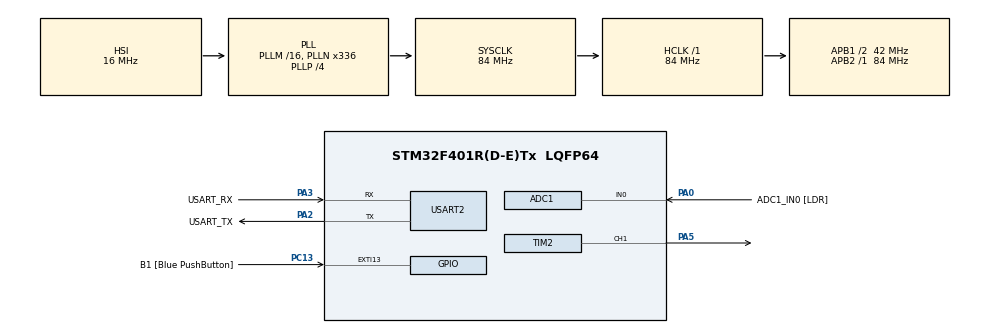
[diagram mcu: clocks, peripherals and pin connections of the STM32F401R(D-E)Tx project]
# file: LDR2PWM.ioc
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ADC1.Channel-0\#ChannelRegularConversion=ADC_CHANNEL_0
ADC1.DMAContinuousRequests=ENABLE
ADC1.ExternalTrigConv=ADC_EXTERNALTRIGCONV_T2_TRGO
ADC1.NbrOfConversionFlag=1
ADC1.Rank-0\#ChannelRegularConversion=1
ADC1.SamplingTime-0\#ChannelRegularConversion=ADC_SAMPLETIME_480CYCLES
ADC1.master=1
Dma.ADC1.0.Direction=DMA_PERIPH_TO_MEMORY
Dma.ADC1.0.FIFOMode=DMA_FIFOMODE_DISABLE
Dma.ADC1.0.Instance=DMA2_Stream0
Dma.ADC1.0.MemDataAlignment=DMA_MDATAALIGN_HALFWORD
Dma.ADC1.0.MemInc=DMA_MINC_ENABLE
Dma.ADC1.0.Mode=DMA_CIRCULAR
Dma.ADC1.0.PeriphDataAlignment=DMA_PDATAALIGN_HALFWORD
Dma.ADC1.0.PeriphInc=DMA_PINC_DISABLE
Dma.ADC1.0.Priority=DMA_PRIORITY_LOW
Dma.Request0=ADC1
Dma.Request1=USART2_TX
Dma.USART2_TX.1.Direction=DMA_MEMORY_TO_PERIPH
Dma.USART2_TX.1.FIFOMode=DMA_FIFOMODE_DISABLE
Dma.USART2_TX.1.Instance=DMA1_Stream6
Dma.USART2_TX.1.MemDataAlignment=DMA_MDATAALIGN_BYTE
Dma.USART2_TX.1.MemInc=DMA_MINC_ENABLE
Dma.USART2_TX.1.Mode=DMA_NORMAL
Dma.USART2_TX.1.PeriphDataAlignment=DMA_PDATAALIGN_BYTE
Dma.USART2_TX.1.PeriphInc=DMA_PINC_DISABLE
Dma.USART2_TX.1.Priority=DMA_PRIORITY_LOW
Mcu.Family=STM32F4
Mcu.Name=STM32F401R(D-E)Tx
Mcu.Package=LQFP64
NVIC.DMA1_Stream6_IRQn=true\:0\:0\:false\:false\:true\:false\:true\:true
NVIC.DMA2_Stream0_IRQn=true\:0\:0\:false\:false\:true\:false\:true\:true
NVIC.PriorityGroup=NVIC_PRIORITYGROUP_4
NVIC.USART2_IRQn=true\:0\:0\:false\:false\:true\:true\:true\:true
PA0-WKUP.GPIO_Label=ADC1_IN0 [LDR]
PA0-WKUP.Signal=ADCx_IN0
PA13.GPIO_Label=TMS
PA13.Mode=Trace_Asynchronous_SW
PA13.Signal=SYS_JTMS-SWDIO
PA14.GPIO_Label=TCK
PA14.Mode=Trace_Asynchronous_SW
PA14.Signal=SYS_JTCK-SWCLK
PA2.GPIO_Label=USART_TX
PA2.GPIO_Mode=GPIO_MODE_AF_PP
PA2.GPIO_PuPd=GPIO_NOPULL
PA2.GPIO_Speed=GPIO_SPEED_FREQ_LOW
PA2.Mode=Asynchronous
PA2.Signal=USART2_TX
PA3.GPIO_Label=USART_RX
PA3.GPIO_Mode=GPIO_MODE_AF_PP
PA3.GPIO_PuPd=GPIO_NOPULL
PA3.GPIO_Speed=GPIO_SPEED_FREQ_LOW
PA3.Mode=Asynchronous
PA3.Signal=USART2_RX
PA5.Signal=S_TIM2_CH1_ETR
PB3.GPIO_Label=SWO
PB3.Mode=Trace_Asynchronous_SW
PB3.Signal=SYS_JTDO-SWO
PC13-ANTI_TAMP.GPIO_Label=B1 [Blue PushButton]
PC13-ANTI_TAMP.GPIO_ModeDefaultEXTI=GPIO_MODE_IT_FALLING
PC13-ANTI_TAMP.GPIO_PuPd=GPIO_NOPULL
PC13-ANTI_TAMP.Signal=GPXTI13
PC14-OSC32_IN.Mode=LSE-External-Oscillator
PC14-OSC32_IN.Signal=RCC_OSC32_IN
PC15-OSC32_OUT.Mode=LSE-External-Oscillator
PC15-OSC32_OUT.Signal=RCC_OSC32_OUT
PH0\ -\ OSC_IN.Mode=HSE-External-Clock-Source
PH0\ -\ OSC_IN.Signal=RCC_OSC_IN
PH1\ -\ OSC_OUT.Mode=HSE-External-Clock-Source
PH1\ -\ OSC_OUT.Signal=RCC_OSC_OUT
ProjectManager.HeapSize=0x200
ProjectManager.StackSize=0x400
ProjectManager.TargetToolchain=STM32CubeIDE
RCC.48MHZClocksFreq_Value=48000000
RCC.AHBFreq_Value=84000000
RCC.APB1CLKDivider=RCC_HCLK_DIV2
RCC.APB1Freq_Value=42000000
RCC.APB1TimFreq_Value=84000000
RCC.APB2Freq_Value=84000000
RCC.APB2TimFreq_Value=84000000
RCC.CortexFreq_Value=84000000
RCC.HCLKFreq_Value=84000000
RCC.HSE_VALUE=8000000
RCC.HSI_VALUE=16000000
RCC.PLLN=336
RCC.PLLP=RCC_PLLP_DIV4
RCC.PLLQ=7
RCC.SYSCLKFreq_VALUE=84000000
RCC.SYSCLKSource=RCC_SYSCLKSOURCE_PLLCLK
RCC.VCOOutputFreq_Value=336000000
SH.ADCx_IN0.0=ADC1_IN0,IN0
SH.S_TIM2_CH1_ETR.0=TIM2_CH1,PWM Generation1 CH1
TIM2.Channel-PWM\ Generation1\ CH1=TIM_CHANNEL_1
TIM2.Period=99
TIM2.Prescaler=839
TIM2.TIM_MasterOutputTrigger=TIM_TRGO_UPDATE
USART2.VirtualMode=VM_ASYNC
VP_TIM2_VS_ClockSourceINT.Mode=Internal
board=NUCLEO-F401RE

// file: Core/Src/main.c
/* USER CODE BEGIN Header */
/**
  ******************************************************************************
  * @file           : main.c
  * @brief          : Main program body
  ******************************************************************************
  * @attention
  *
  * Copyright (c) 2025 STMicroelectronics.
  * All rights reserved.
  *
  * This software is licensed under terms that can be found in the LICENSE file
  * in the root directory of this software component.
  * If no LICENSE file comes with this software, it is provided AS-IS.
  *
  ******************************************************************************
  */
/* USER CODE END Header */
#include "main.h"

/* USER CODE BEGIN Includes */
#include "stdio.h"
#include "math.h"
/* USER CODE END Includes */

ADC_HandleTypeDef hadc1;
DMA_HandleTypeDef hdma_adc1;

TIM_HandleTypeDef htim2;

UART_HandleTypeDef huart2;
DMA_HandleTypeDef hdma_usart2_tx;

/* USER CODE BEGIN PV */
uint16_t adc_dma_buffer[1000];
float first_half_resistance_avg;
char string[32];
/* USER CODE END PV */

void SystemClock_Config(void);
static void MX_GPIO_Init(void);
static void MX_DMA_Init(void);
static void MX_USART2_UART_Init(void);
static void MX_ADC1_Init(void);
static void MX_TIM2_Init(void);

/* USER CODE BEGIN 0 */
void HAL_ADC_ConvHalfCpltCallback(ADC_HandleTypeDef* hadc) {
    uint32_t sum = 0;
    for (int i = 0; i < 500; i++) {
        sum += adc_dma_buffer[i];
    }
    float average_adc = sum / 500;
    float voltage = average_adc * 3.3 / 4095;
    first_half_resistance_avg = (voltage * 100000) / (3.3 - voltage);
}

void HAL_ADC_ConvCpltCallback(ADC_HandleTypeDef* hadc) {
    uint32_t sum = 0;
    for (int i = 500; i < 1000; i++) {
        sum += adc_dma_buffer[i];
    }
    float average_adc = sum / 500;
    float voltage = average_adc * 3.3 / 4095;
    float second_half_resistance_avg = (voltage * 100000) / (3.3 - voltage);

    float resistance_avg = (first_half_resistance_avg + second_half_resistance_avg) / 2;
    float lux = pow(10 * (100000 / resistance_avg), 1.25);

    int length = snprintf(string, sizeof(string), "LUX: %.2f\n\n", lux);
    uint32_t brightness = (uint32_t)((average_adc * 99.0f) / 4095.0f);

        // اعمال شدت نور روی کانال 1 تایمر 2 (متصل به LED)
        __HAL_TIM_SET_COMPARE(&htim2, TIM_CHANNEL_1, brightness);

        // چاپ مقادیر در ترمینال UART
//        int length = snprintf(string, sizeof(string), "LUX: %.2f | PWM Duty Cycle: %lu%%\r\n", lux, brightness);
//        HAL_UART_Transmit_DMA(&huart2, (uint8_t *)string, length);
        }
/* USER CODE END 0 */

int main(void)
{

  /* MCU Configuration--------------------------------------------------------*/

  /* Reset of all peripherals, Initializes the Flash interface and the Systick. */
  HAL_Init();

  /* Configure the system clock */
  SystemClock_Config();

  /* Initialize all configured peripherals */
  MX_GPIO_Init();
  MX_DMA_Init();
  MX_USART2_UART_Init();
  MX_ADC1_Init();
  MX_TIM2_Init();
  /* USER CODE BEGIN 2 */
  HAL_ADC_Start_DMA(&hadc1, adc_dma_buffer, 1000);
  HAL_TIM_Base_Start(&htim2);
  HAL_TIM_PWM_Start(&htim2, TIM_CHANNEL_1);

  /* USER CODE END 2 */

  /* Infinite loop */
  while (1)
  {

  }
}

void SystemClock_Config(void)
{
  RCC_OscInitTypeDef RCC_OscInitStruct = {0};
  RCC_ClkInitTypeDef RCC_ClkInitStruct = {0};

  /** Configure the main internal regulator output voltage
  */
  __HAL_RCC_PWR_CLK_ENABLE();
  __HAL_PWR_VOLTAGESCALING_CONFIG(PWR_REGULATOR_VOLTAGE_SCALE2);

  /** Initializes the RCC Oscillators according to the specified parameters
  * in the RCC_OscInitTypeDef structure.
  */
  RCC_OscInitStruct.OscillatorType = RCC_OSCILLATORTYPE_HSI;
  RCC_OscInitStruct.HSIState = RCC_HSI_ON;
  RCC_OscInitStruct.HSICalibrationValue = RCC_HSICALIBRATION_DEFAULT;
  RCC_OscInitStruct.PLL.PLLState = RCC_PLL_ON;
  RCC_OscInitStruct.PLL.PLLSource = RCC_PLLSOURCE_HSI;
  RCC_OscInitStruct.PLL.PLLM = 16;
  RCC_OscInitStruct.PLL.PLLN = 336;
  RCC_OscInitStruct.PLL.PLLP = RCC_PLLP_DIV4;
  RCC_OscInitStruct.PLL.PLLQ = 7;
  if (HAL_RCC_OscConfig(&RCC_OscInitStruct) != HAL_OK)
  {
    Error_Handler();
  }

  /** Initializes the CPU, AHB and APB buses clocks
  */
  RCC_ClkInitStruct.ClockType = RCC_CLOCKTYPE_HCLK|RCC_CLOCKTYPE_SYSCLK
                              |RCC_CLOCKTYPE_PCLK1|RCC_CLOCKTYPE_PCLK2;
  RCC_ClkInitStruct.SYSCLKSource = RCC_SYSCLKSOURCE_PLLCLK;
  RCC_ClkInitStruct.AHBCLKDivider = RCC_SYSCLK_DIV1;
  RCC_ClkInitStruct.APB1CLKDivider = RCC_HCLK_DIV2;
  RCC_ClkInitStruct.APB2CLKDivider = RCC_HCLK_DIV1;

  if (HAL_RCC_ClockConfig(&RCC_ClkInitStruct, FLASH_LATENCY_2) != HAL_OK)
  {
    Error_Handler();
  }
}

static void MX_ADC1_Init(void)
{

  ADC_ChannelConfTypeDef sConfig = {0};

  /** Configure the global features of the ADC (Clock, Resolution, Data Alignment and number of conversion)
  */
  hadc1.Instance = ADC1;
  hadc1.Init.ClockPrescaler = ADC_CLOCK_SYNC_PCLK_DIV4;
  hadc1.Init.Resolution = ADC_RESOLUTION_12B;
  hadc1.Init.ScanConvMode = DISABLE;
  hadc1.Init.ContinuousConvMode = DISABLE;
  hadc1.Init.DiscontinuousConvMode = DISABLE;
  hadc1.Init.ExternalTrigConvEdge = ADC_EXTERNALTRIGCONVEDGE_RISING;
  hadc1.Init.ExternalTrigConv = ADC_EXTERNALTRIGCONV_T2_TRGO;
  hadc1.Init.DataAlign = ADC_DATAALIGN_RIGHT;
  hadc1.Init.NbrOfConversion = 1;
  hadc1.Init.DMAContinuousRequests = ENABLE;
  hadc1.Init.EOCSelection = ADC_EOC_SINGLE_CONV;
  if (HAL_ADC_Init(&hadc1) != HAL_OK)
  {
    Error_Handler();
  }

  /** Configure for the selected ADC regular channel its corresponding rank in the sequencer and its sample time.
  */
  sConfig.Channel = ADC_CHANNEL_0;
  sConfig.Rank = 1;
  sConfig.SamplingTime = ADC_SAMPLETIME_480CYCLES;
  if (HAL_ADC_ConfigChannel(&hadc1, &sConfig) != HAL_OK)
  {
    Error_Handler();
  }

}

static void MX_TIM2_Init(void)
{

  TIM_ClockConfigTypeDef sClockSourceConfig = {0};
  TIM_MasterConfigTypeDef sMasterConfig = {0};
  TIM_OC_InitTypeDef sConfigOC = {0};

  htim2.Instance = TIM2;
  htim2.Init.Prescaler = 839;
  htim2.Init.CounterMode = TIM_COUNTERMODE_UP;
  htim2.Init.Period = 99;
  htim2.Init.ClockDivision = TIM_CLOCKDIVISION_DIV1;
  htim2.Init.AutoReloadPreload = TIM_AUTORELOAD_PRELOAD_DISABLE;
  if (HAL_TIM_Base_Init(&htim2) != HAL_OK)
  {
    Error_Handler();
  }
  sClockSourceConfig.ClockSource = TIM_CLOCKSOURCE_INTERNAL;
  if (HAL_TIM_ConfigClockSource(&htim2, &sClockSourceConfig) != HAL_OK)
  {
    Error_Handler();
  }
  if (HAL_TIM_PWM_Init(&htim2) != HAL_OK)
  {
    Error_Handler();
  }
  sMasterConfig.MasterOutputTrigger = TIM_TRGO_UPDATE;
  sMasterConfig.MasterSlaveMode = TIM_MASTERSLAVEMODE_DISABLE;
  if (HAL_TIMEx_MasterConfigSynchronization(&htim2, &sMasterConfig) != HAL_OK)
  {
    Error_Handler();
  }
  sConfigOC.OCMode = TIM_OCMODE_PWM1;
  sConfigOC.Pulse = 0;
  sConfigOC.OCPolarity = TIM_OCPOLARITY_HIGH;
  sConfigOC.OCFastMode = TIM_OCFAST_DISABLE;
  if (HAL_TIM_PWM_ConfigChannel(&htim2, &sConfigOC, TIM_CHANNEL_1) != HAL_OK)
  {
    Error_Handler();
  }
  HAL_TIM_MspPostInit(&htim2);

}

static void MX_USART2_UART_Init(void)
{

  huart2.Instance = USART2;
  huart2.Init.BaudRate = 115200;
  huart2.Init.WordLength = UART_WORDLENGTH_8B;
  huart2.Init.StopBits = UART_STOPBITS_1;
  huart2.Init.Parity = UART_PARITY_NONE;
  huart2.Init.Mode = UART_MODE_TX_RX;
  huart2.Init.HwFlowCtl = UART_HWCONTROL_NONE;
  huart2.Init.OverSampling = UART_OVERSAMPLING_16;
  if (HAL_UART_Init(&huart2) != HAL_OK)
  {
    Error_Handler();
  }

}

static void MX_DMA_Init(void)
{

  /* DMA controller clock enable */
  __HAL_RCC_DMA2_CLK_ENABLE();
  __HAL_RCC_DMA1_CLK_ENABLE();

  /* DMA interrupt init */
  /* DMA1_Stream6_IRQn interrupt configuration */
  HAL_NVIC_SetPriority(DMA1_Stream6_IRQn, 0, 0);
  HAL_NVIC_EnableIRQ(DMA1_Stream6_IRQn);
  /* DMA2_Stream0_IRQn interrupt configuration */
  HAL_NVIC_SetPriority(DMA2_Stream0_IRQn, 0, 0);
  HAL_NVIC_EnableIRQ(DMA2_Stream0_IRQn);

}

static void MX_GPIO_Init(void)
{
  GPIO_InitTypeDef GPIO_InitStruct = {0};

  /* GPIO Ports Clock Enable */
  __HAL_RCC_GPIOC_CLK_ENABLE();
  __HAL_RCC_GPIOH_CLK_ENABLE();
  __HAL_RCC_GPIOA_CLK_ENABLE();
  __HAL_RCC_GPIOB_CLK_ENABLE();

  /*Configure GPIO pin : B1_Pin */
  GPIO_InitStruct.Pin = B1_Pin;
  GPIO_InitStruct.Mode = GPIO_MODE_IT_FALLING;
  GPIO_InitStruct.Pull = GPIO_NOPULL;
  HAL_GPIO_Init(B1_GPIO_Port, &GPIO_InitStruct);

}

void Error_Handler(void)
{
  __disable_irq();
  while (1)
  {
  }
}
